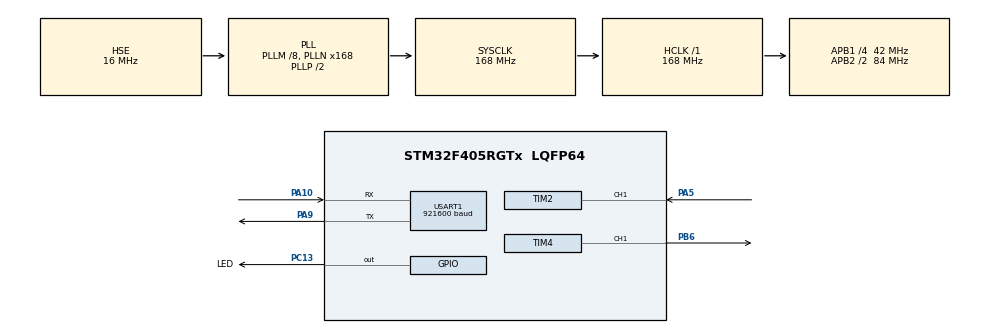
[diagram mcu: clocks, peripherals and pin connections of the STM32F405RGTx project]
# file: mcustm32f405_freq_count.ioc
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Dma.Request0=TIM2_CH1
Dma.TIM2_CH1.0.Direction=DMA_PERIPH_TO_MEMORY
Dma.TIM2_CH1.0.FIFOMode=DMA_FIFOMODE_DISABLE
Dma.TIM2_CH1.0.Instance=DMA1_Stream5
Dma.TIM2_CH1.0.MemDataAlignment=DMA_MDATAALIGN_WORD
Dma.TIM2_CH1.0.MemInc=DMA_MINC_ENABLE
Dma.TIM2_CH1.0.Mode=DMA_CIRCULAR
Dma.TIM2_CH1.0.PeriphDataAlignment=DMA_PDATAALIGN_WORD
Dma.TIM2_CH1.0.PeriphInc=DMA_PINC_DISABLE
Dma.TIM2_CH1.0.Priority=DMA_PRIORITY_MEDIUM
Mcu.Family=STM32F4
Mcu.Name=STM32F405RGTx
Mcu.Package=LQFP64
NVIC.DMA1_Stream5_IRQn=true\:0\:0\:false\:false\:true\:false\:true\:true
NVIC.PriorityGroup=NVIC_PRIORITYGROUP_4
PA10.Mode=Asynchronous
PA10.Signal=USART1_RX
PA13.Mode=Trace_Asynchronous_SW
PA13.Signal=SYS_JTMS-SWDIO
PA14.Mode=Trace_Asynchronous_SW
PA14.Signal=SYS_JTCK-SWCLK
PA5.GPIO_Speed=GPIO_SPEED_FREQ_HIGH
PA5.Signal=S_TIM2_CH1_ETR
PA9.Mode=Asynchronous
PA9.Signal=USART1_TX
PB3.Mode=Trace_Asynchronous_SW
PB3.Signal=SYS_JTDO-SWO
PB6.GPIO_Speed=GPIO_SPEED_FREQ_LOW
PB6.Signal=S_TIM4_CH1
PC13-ANTI_TAMP.GPIO_Label=LED
PC13-ANTI_TAMP.GPIO_ModeDefaultOutputPP=GPIO_MODE_OUTPUT_OD
PC13-ANTI_TAMP.GPIO_PuPd=GPIO_NOPULL
PC13-ANTI_TAMP.PinState=GPIO_PIN_SET
PC13-ANTI_TAMP.Signal=GPIO_Output
PH0-OSC_IN.Mode=HSE-External-Oscillator
PH0-OSC_IN.Signal=RCC_OSC_IN
PH1-OSC_OUT.Mode=HSE-External-Oscillator
PH1-OSC_OUT.Signal=RCC_OSC_OUT
ProjectManager.HeapSize=0x200
ProjectManager.StackSize=0x400
ProjectManager.TargetToolchain=STM32CubeIDE
RCC.48MHZClocksFreq_Value=84000000
RCC.AHBFreq_Value=168000000
RCC.APB1CLKDivider=RCC_HCLK_DIV4
RCC.APB1Freq_Value=42000000
RCC.APB1TimFreq_Value=84000000
RCC.APB2CLKDivider=RCC_HCLK_DIV2
RCC.APB2Freq_Value=84000000
RCC.APB2TimFreq_Value=168000000
RCC.CortexFreq_Value=168000000
RCC.HCLKFreq_Value=168000000
RCC.HSE_VALUE=16000000
RCC.HSI_VALUE=16000000
RCC.LSE_VALUE=32768
RCC.PLLM=8
RCC.PLLN=168
RCC.PLLSourceVirtual=RCC_PLLSOURCE_HSE
RCC.SYSCLKFreq_VALUE=168000000
RCC.SYSCLKSource=RCC_SYSCLKSOURCE_PLLCLK
RCC.VCOOutputFreq_Value=336000000
SH.S_TIM2_CH1_ETR.0=TIM2_CH1,PWM_Input_1
SH.S_TIM4_CH1.0=TIM4_CH1,PWM Generation1 CH1
TIM2.AutoReloadPreload=TIM_AUTORELOAD_PRELOAD_ENABLE
TIM2.TIM_MasterOutputTrigger=TIM_TRGO_RESET
TIM4.Channel-PWM\ Generation1\ CH1=TIM_CHANNEL_1
TIM4.OCFastMode_PWM-PWM\ Generation1\ CH1=TIM_OCFAST_ENABLE
TIM4.Period=9
TIM4.Prescaler=0
TIM4.Pulse-PWM\ Generation1\ CH1=2
USART1.BaudRate=921600
USART1.VirtualMode=VM_ASYNC
VP_TIM2_VS_ClockSourceINT.Mode=Internal
board=custom

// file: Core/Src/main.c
/* USER CODE BEGIN Header */
/**
  ******************************************************************************
  * @file           : main.c
  * @brief          : Main program body
  ******************************************************************************
  * @attention
  *
  * Copyright (c) 2024 STMicroelectronics.
  * All rights reserved.
  *
  * This software is licensed under terms that can be found in the LICENSE file
  * in the root directory of this software component.
  * If no LICENSE file comes with this software, it is provided AS-IS.
  *
  ******************************************************************************
  */
/* USER CODE END Header */
#include "main.h"

/* USER CODE BEGIN Includes */
#include <stdio.h>
/* USER CODE END Includes */

/* USER CODE BEGIN PD */
#define BUFFER_SIZE 32
/* USER CODE END PD */

TIM_HandleTypeDef htim2;
TIM_HandleTypeDef htim4;
DMA_HandleTypeDef hdma_tim2_ch1;

UART_HandleTypeDef huart1;

/* USER CODE BEGIN PV */

uint32_t interrupt_count = 0;

uint32_t dma_buffer[BUFFER_SIZE];
uint8_t buffer_idx = 0;

/* USER CODE END PV */

void SystemClock_Config(void);
static void MX_GPIO_Init(void);
static void MX_DMA_Init(void);
static void MX_USART1_UART_Init(void);
static void MX_TIM4_Init(void);
static void MX_TIM2_Init(void);

/* USER CODE BEGIN 0 */

// Send printf to uart1
int _write(int fd, char* ptr, int len) {
  HAL_StatusTypeDef hstatus;

  if (fd == 1 || fd == 2) {
    hstatus = HAL_UART_Transmit(&huart1, (uint8_t *) ptr, len, HAL_MAX_DELAY);
    if (hstatus == HAL_OK)
      return len;
    else
      return -1;
  }
  return -1;
}

void HAL_TIM_IC_CaptureCallback(TIM_HandleTypeDef *htim) {
//    uint64_t total = 0;
//    for (int i = 0; i < BUFFER_SIZE; ++i) {
//        total += dma_buffer[i];
//    }
//    last_count = total / BUFFER_SIZE;
    ++interrupt_count;
}

/* USER CODE END 0 */

int main(void)
{

  /* MCU Configuration--------------------------------------------------------*/

  /* Reset of all peripherals, Initializes the Flash interface and the Systick. */
  HAL_Init();

  /* Configure the system clock */
  SystemClock_Config();

  /* Initialize all configured peripherals */
  MX_GPIO_Init();
  MX_DMA_Init();
  MX_USART1_UART_Init();
  MX_TIM4_Init();
  MX_TIM2_Init();
  /* USER CODE BEGIN 2 */

  uint32_t count_freq = HAL_RCC_GetPCLK1Freq() * 2;
  printf("APB1=%lu\n", HAL_RCC_GetPCLK1Freq() * 2);
  printf("APB2=%lu\n", HAL_RCC_GetPCLK2Freq() * 2);

  HAL_TIM_PWM_Start(&htim4, TIM_CHANNEL_1);

  HAL_TIM_IC_Start_DMA(&htim2, TIM_CHANNEL_1, (uint32_t *)&dma_buffer, sizeof(dma_buffer) / sizeof(dma_buffer[0]));

  /* USER CODE END 2 */

  /* Infinite loop */
  /* USER CODE BEGIN WHILE */

  uint32_t now = 0, next_blink = 500, next_tick = 1000;

  while (1)
  {

      now = HAL_GetTick();

      if (now >= next_blink) {
          HAL_GPIO_TogglePin(LED_GPIO_Port, LED_Pin);
          next_blink = now + 500;
      }

      if (now >= next_tick) {

          uint64_t total = 0;
          for (int i = 0; i < BUFFER_SIZE; ++i) {
              total += dma_buffer[i];
          }

          uint32_t count = total / BUFFER_SIZE;

          float freq = (float) count_freq / count;

          printf("Tick %lu - int count = %lu - last count = %6lu - freq = %6.2f\n", now / 1000, interrupt_count, count, freq);

          interrupt_count = 0;
          next_tick = now + 1000;

      }

    /* USER CODE END WHILE */

  }
}

void SystemClock_Config(void)
{
  RCC_OscInitTypeDef RCC_OscInitStruct = {0};
  RCC_ClkInitTypeDef RCC_ClkInitStruct = {0};

  /** Configure the main internal regulator output voltage
  */
  __HAL_RCC_PWR_CLK_ENABLE();
  __HAL_PWR_VOLTAGESCALING_CONFIG(PWR_REGULATOR_VOLTAGE_SCALE1);

  /** Initializes the RCC Oscillators according to the specified parameters
  * in the RCC_OscInitTypeDef structure.
  */
  RCC_OscInitStruct.OscillatorType = RCC_OSCILLATORTYPE_HSE;
  RCC_OscInitStruct.HSEState = RCC_HSE_ON;
  RCC_OscInitStruct.PLL.PLLState = RCC_PLL_ON;
  RCC_OscInitStruct.PLL.PLLSource = RCC_PLLSOURCE_HSE;
  RCC_OscInitStruct.PLL.PLLM = 8;
  RCC_OscInitStruct.PLL.PLLN = 168;
  RCC_OscInitStruct.PLL.PLLP = RCC_PLLP_DIV2;
  RCC_OscInitStruct.PLL.PLLQ = 4;
  if (HAL_RCC_OscConfig(&RCC_OscInitStruct) != HAL_OK)
  {
    Error_Handler();
  }

  /** Initializes the CPU, AHB and APB buses clocks
  */
  RCC_ClkInitStruct.ClockType = RCC_CLOCKTYPE_HCLK|RCC_CLOCKTYPE_SYSCLK
                              |RCC_CLOCKTYPE_PCLK1|RCC_CLOCKTYPE_PCLK2;
  RCC_ClkInitStruct.SYSCLKSource = RCC_SYSCLKSOURCE_PLLCLK;
  RCC_ClkInitStruct.AHBCLKDivider = RCC_SYSCLK_DIV1;
  RCC_ClkInitStruct.APB1CLKDivider = RCC_HCLK_DIV4;
  RCC_ClkInitStruct.APB2CLKDivider = RCC_HCLK_DIV2;

  if (HAL_RCC_ClockConfig(&RCC_ClkInitStruct, FLASH_LATENCY_5) != HAL_OK)
  {
    Error_Handler();
  }
}

static void MX_TIM2_Init(void)
{

  TIM_ClockConfigTypeDef sClockSourceConfig = {0};
  TIM_SlaveConfigTypeDef sSlaveConfig = {0};
  TIM_IC_InitTypeDef sConfigIC = {0};
  TIM_MasterConfigTypeDef sMasterConfig = {0};

  htim2.Instance = TIM2;
  htim2.Init.Prescaler = 0;
  htim2.Init.CounterMode = TIM_COUNTERMODE_UP;
  htim2.Init.Period = 4294967295;
  htim2.Init.ClockDivision = TIM_CLOCKDIVISION_DIV1;
  htim2.Init.AutoReloadPreload = TIM_AUTORELOAD_PRELOAD_ENABLE;
  if (HAL_TIM_Base_Init(&htim2) != HAL_OK)
  {
    Error_Handler();
  }
  sClockSourceConfig.ClockSource = TIM_CLOCKSOURCE_INTERNAL;
  if (HAL_TIM_ConfigClockSource(&htim2, &sClockSourceConfig) != HAL_OK)
  {
    Error_Handler();
  }
  if (HAL_TIM_IC_Init(&htim2) != HAL_OK)
  {
    Error_Handler();
  }
  sSlaveConfig.SlaveMode = TIM_SLAVEMODE_RESET;
  sSlaveConfig.InputTrigger = TIM_TS_TI1FP1;
  sSlaveConfig.TriggerPolarity = TIM_INPUTCHANNELPOLARITY_RISING;
  sSlaveConfig.TriggerPrescaler = TIM_ICPSC_DIV1;
  sSlaveConfig.TriggerFilter = 0;
  if (HAL_TIM_SlaveConfigSynchro(&htim2, &sSlaveConfig) != HAL_OK)
  {
    Error_Handler();
  }
  sConfigIC.ICPolarity = TIM_INPUTCHANNELPOLARITY_RISING;
  sConfigIC.ICSelection = TIM_ICSELECTION_DIRECTTI;
  sConfigIC.ICPrescaler = TIM_ICPSC_DIV1;
  sConfigIC.ICFilter = 0;
  if (HAL_TIM_IC_ConfigChannel(&htim2, &sConfigIC, TIM_CHANNEL_1) != HAL_OK)
  {
    Error_Handler();
  }
  sConfigIC.ICPolarity = TIM_INPUTCHANNELPOLARITY_FALLING;
  sConfigIC.ICSelection = TIM_ICSELECTION_INDIRECTTI;
  if (HAL_TIM_IC_ConfigChannel(&htim2, &sConfigIC, TIM_CHANNEL_2) != HAL_OK)
  {
    Error_Handler();
  }
  sMasterConfig.MasterOutputTrigger = TIM_TRGO_RESET;
  sMasterConfig.MasterSlaveMode = TIM_MASTERSLAVEMODE_DISABLE;
  if (HAL_TIMEx_MasterConfigSynchronization(&htim2, &sMasterConfig) != HAL_OK)
  {
    Error_Handler();
  }

}

static void MX_TIM4_Init(void)
{

  TIM_MasterConfigTypeDef sMasterConfig = {0};
  TIM_OC_InitTypeDef sConfigOC = {0};

  htim4.Instance = TIM4;
  htim4.Init.Prescaler = 0;
  htim4.Init.CounterMode = TIM_COUNTERMODE_UP;
  htim4.Init.Period = 9;
  htim4.Init.ClockDivision = TIM_CLOCKDIVISION_DIV1;
  htim4.Init.AutoReloadPreload = TIM_AUTORELOAD_PRELOAD_DISABLE;
  if (HAL_TIM_PWM_Init(&htim4) != HAL_OK)
  {
    Error_Handler();
  }
  sMasterConfig.MasterOutputTrigger = TIM_TRGO_RESET;
  sMasterConfig.MasterSlaveMode = TIM_MASTERSLAVEMODE_DISABLE;
  if (HAL_TIMEx_MasterConfigSynchronization(&htim4, &sMasterConfig) != HAL_OK)
  {
    Error_Handler();
  }
  sConfigOC.OCMode = TIM_OCMODE_PWM1;
  sConfigOC.Pulse = 2;
  sConfigOC.OCPolarity = TIM_OCPOLARITY_HIGH;
  sConfigOC.OCFastMode = TIM_OCFAST_ENABLE;
  if (HAL_TIM_PWM_ConfigChannel(&htim4, &sConfigOC, TIM_CHANNEL_1) != HAL_OK)
  {
    Error_Handler();
  }
  HAL_TIM_MspPostInit(&htim4);

}

static void MX_USART1_UART_Init(void)
{

  huart1.Instance = USART1;
  huart1.Init.BaudRate = 921600;
  huart1.Init.WordLength = UART_WORDLENGTH_8B;
  huart1.Init.StopBits = UART_STOPBITS_1;
  huart1.Init.Parity = UART_PARITY_NONE;
  huart1.Init.Mode = UART_MODE_TX_RX;
  huart1.Init.HwFlowCtl = UART_HWCONTROL_NONE;
  huart1.Init.OverSampling = UART_OVERSAMPLING_16;
  if (HAL_UART_Init(&huart1) != HAL_OK)
  {
    Error_Handler();
  }

}

static void MX_DMA_Init(void)
{

  /* DMA controller clock enable */
  __HAL_RCC_DMA1_CLK_ENABLE();

  /* DMA interrupt init */
  /* DMA1_Stream5_IRQn interrupt configuration */
  HAL_NVIC_SetPriority(DMA1_Stream5_IRQn, 0, 0);
  HAL_NVIC_EnableIRQ(DMA1_Stream5_IRQn);

}

static void MX_GPIO_Init(void)
{
  GPIO_InitTypeDef GPIO_InitStruct = {0};

  /* GPIO Ports Clock Enable */
  __HAL_RCC_GPIOC_CLK_ENABLE();
  __HAL_RCC_GPIOH_CLK_ENABLE();
  __HAL_RCC_GPIOA_CLK_ENABLE();
  __HAL_RCC_GPIOB_CLK_ENABLE();

  /*Configure GPIO pin Output Level */
  HAL_GPIO_WritePin(LED_GPIO_Port, LED_Pin, GPIO_PIN_SET);

  /*Configure GPIO pin : LED_Pin */
  GPIO_InitStruct.Pin = LED_Pin;
  GPIO_InitStruct.Mode = GPIO_MODE_OUTPUT_OD;
  GPIO_InitStruct.Pull = GPIO_NOPULL;
  GPIO_InitStruct.Speed = GPIO_SPEED_FREQ_LOW;
  HAL_GPIO_Init(LED_GPIO_Port, &GPIO_InitStruct);

}

void Error_Handler(void)
{
  __disable_irq();
  while (1)
  {
  }
}
